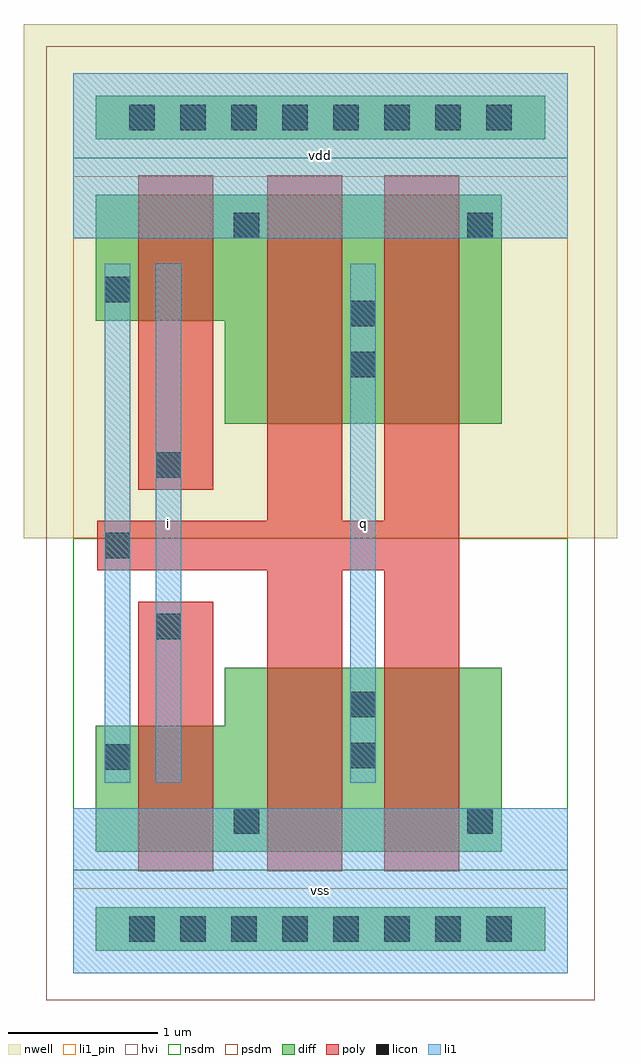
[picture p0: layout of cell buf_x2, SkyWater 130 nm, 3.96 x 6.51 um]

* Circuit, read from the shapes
.subckt buf_x2 i q vdd vss
XM1 vss i n1 VSUBS sky130_fd_pr__nfet_g5v0d10v5 w=0.84 l=0.5
XM2 q n1 vss VSUBS sky130_fd_pr__nfet_g5v0d10v5 w=1.225 l=0.5 m=2
XM3 vdd i n1 n2 sky130_fd_pr__pfet_g5v0d10v5 w=0.84 l=0.5
XM4 q n1 vdd n2 sky130_fd_pr__pfet_g5v0d10v5 w=1.525 l=0.5 m=2
.ends

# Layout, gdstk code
import gdstk
lib = gdstk.Library(unit=1e-6, precision=1e-09)
def R(c, l, rs):  # rectangles x0, y0, x1, y1
    for r in rs: c.add(gdstk.rectangle(r[:2], r[2:], *l))
def A(c, l, x, y, w, h, nx, ny, dx, dy):  # array of equal rectangles
    R(c, l, [(x+i*dx, y+j*dy, x+i*dx+w, y+j*dy+h) for i in range(nx) for j in range(ny)])
def P(c, l, *ps):  # polygons
    for p in ps: c.add(gdstk.Polygon(p, *l))
nwell = (64, 20)
diff = (65, 20)
poly = (66, 20)
licon = (66, 44)
li1_pin = (67, 16)
li1 = (67, 20)
hvi = (75, 20)
nsdm = (93, 44)
psdm = (94, 20)

buf_x2 = lib.new_cell('buf_x2')
R(buf_x2, nwell, [(-0.33,2.9,3.63,6.33)])
R(buf_x2, diff, [(0.15,0.15,3.15,0.44), (0.15,5.56,3.15,5.85)])
P(buf_x2, diff, [(0.15,0.81),(0.15,1.65),(1.01,1.65),(1.01,2.035),(2.86,2.035),(2.86,0.81)],
  [(1.01,3.665),(1.01,4.35),(0.15,4.35),(0.15,5.19),(2.86,5.19),(2.86,3.665)])
R(buf_x2, poly, [(0.435,0.68,0.935,2.475), (0.435,3.225,0.935,5.32)])
P(buf_x2, poly, [(1.295,0.68),(1.295,2.685),(0.16,2.685),(0.16,3.015),(1.295,3.015),(1.295,5.32),(1.795,5.32),(1.795,3.015),(2.075,3.015),(2.075,5.32),(2.575,5.32),(2.575,0.68),(2.075,0.68),(2.075,2.685),(1.795,2.685),(1.795,0.68)])
A(buf_x2, licon, 0.375, 0.21, 0.17, 0.17, 8, 2, 0.34, 5.41)
R(buf_x2, licon, [(1.07,0.93,1.24,1.1), (2.63,0.93,2.8,1.1), (0.21,1.355,0.38,1.525), (1.85,1.365,2.02,1.535), (1.85,1.705,2.02,1.875), (0.55,2.225,0.72,2.395), (0.21,2.765,0.38,2.935), (0.55,3.305,0.72,3.475), (1.85,3.975,2.02,4.145), (1.85,4.315,2.02,4.485), (0.21,4.475,0.38,4.645), (1.07,4.9,1.24,5.07), (2.63,4.9,2.8,5.07)])
R(buf_x2, li1_pin, [(0,0,3.3,1.1), (0.55,1.27,0.72,4.73), (1.85,1.27,2.02,4.73), (0,4.9,3.3,6)])
R(buf_x2, li1, [(0,0,3.3,1.1), (0.21,1.27,0.38,4.73), (0.55,1.27,0.72,4.73), (1.85,1.27,2.02,4.73), (0,4.9,3.3,6)])
R(buf_x2, hvi, [(-0.18,-0.18,3.48,6.18)])
R(buf_x2, nsdm, [(0,0.685,3.3,2.9), (0,5.435,3.3,6)])
R(buf_x2, psdm, [(0,0,3.3,0.565), (0,2.9,3.3,5.315)])
buf_x2.add(gdstk.Label('vdd', (1.65,5.45), layer=67, texttype=16))
buf_x2.add(gdstk.Label('vss', (1.65,0.55), layer=67, texttype=16))
buf_x2.add(gdstk.Label('i', (0.635,3), layer=67, texttype=16))
buf_x2.add(gdstk.Label('q', (1.935,3), layer=67, texttype=16))

lib.write_gds('buf_x2.gds')
